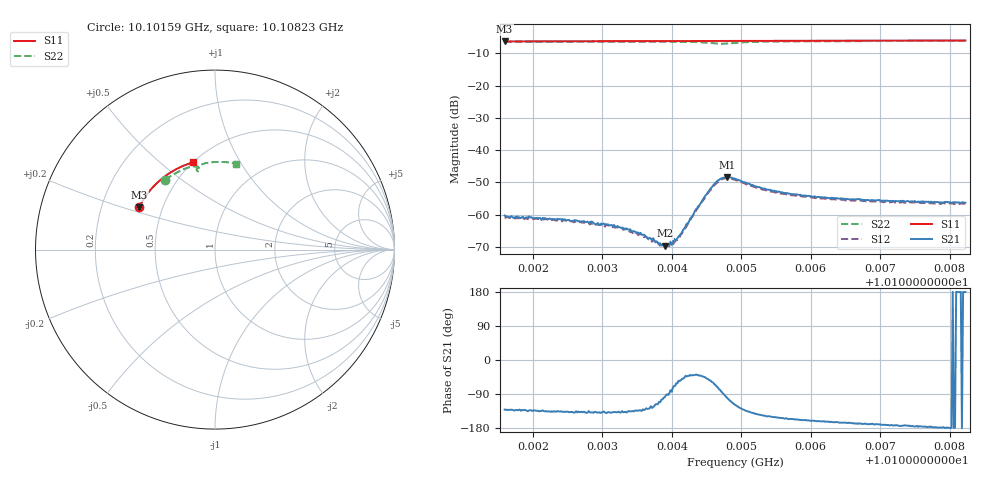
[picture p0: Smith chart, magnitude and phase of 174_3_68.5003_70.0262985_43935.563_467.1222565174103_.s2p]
#  HZ  S  RI  R  50.00
! Rohde & Schwarz Vector Network Analyzer
! Rohde-Schwarz,ZNB20-2Port,1311601062101988,3.16
! Created: UTC 3/20/2024, 4:56:20 PM
! freq[Hz]  re:S11  im:S11  re:S21  im:S21  re:S12  im:S12  re:S22  im:S22
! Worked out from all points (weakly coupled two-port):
!   401 points, 10.10159 GHz to 10.10823 GHz, reference 50 ohm
!   highest |S21| = -48.38 dB at 10.10479 GHz (marker M1); lowest = -69.6 dB at 10.1039 GHz (marker M2)
!   lowest |S11| = -6.3 dB at 10.10159 GHz (marker M3), VSWR 2.87, Z = 18.4 + j11.4 ohm
!   |S11| at or under -10 dB: nowhere
!   |S22| runs from -7.0 to -6.1 dB; largest |S21 - S12| = 0.00038
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1.0101592e10  -0.4221 0.2365  -0.000638 -0.000735  -0.00056 -0.000695  -0.2761 0.3881
1.0101692e10  -0.4195 0.242  -0.000629 -0.000717  -0.000527 -0.000694  -0.2711 0.3922
1.0102074e10  -0.4083 0.2623  -0.000611 -0.000637  -0.000558 -0.000652  -0.2508 0.4066
1.0102704e10  -0.3881 0.2949  -0.000578 -0.000541  -0.000503 -0.000557  -0.2155 0.4283
1.0103086e10  -0.3744 0.3137  -0.000524 -0.000474  -0.000481 -0.000491  -0.193 0.4401
1.0103368e10  -0.3639 0.3271  -0.000423 -0.000413  -0.000377 -0.000442  -0.1755 0.4478
1.0103583e10  -0.3555 0.3371  -0.000313 -0.000372  -0.000297 -0.000385  -0.1615 0.4531
1.0103815e10  -0.3459 0.3479  -0.000125 -0.000329  -0.000106 -0.000326  -0.1455 0.4584
1.0103898e10  -0.3426 0.3515  -4.9e-05 -0.000328  -2.28e-05 -0.000328  -0.1395 0.4599
1.0103981e10  -0.3392 0.3551  6.76e-05 -0.000376  6.93e-05 -0.000328  -0.1333 0.4613
1.0104081e10  -0.3349 0.3594  0.000207 -0.00038  0.000231 -0.000331  -0.1255 0.4625
1.0104214e10  -0.3292 0.365  0.00052 -0.000496  0.000516 -0.00041  -0.1144 0.4632
1.0104396e10  -0.3212 0.3727  0.00105 -0.000915  0.00111 -0.000813  -0.0979 0.4602
1.0104595e10  -0.3122 0.3809  0.00143 -0.00245  0.00152 -0.00224  -0.0852 0.4455
1.0104695e10  -0.3078 0.3847  0.000676 -0.0035  0.000895 -0.0033  -0.0894 0.437
1.0104794e10  -0.3034 0.3885  -0.000625 -0.00376  -0.000294 -0.00365  -0.0985 0.4379
1.010491e10  -0.2981 0.3932  -0.00169 -0.00318  -0.00134 -0.0032  -0.102 0.4484
1.0105209e10  -0.284 0.4047  -0.00217 -0.00168  -0.00192 -0.0018  -0.0854 0.4695
1.0105458e10  -0.2719 0.4136  -0.00204 -0.00115  -0.00187 -0.00128  -0.067 0.4775
1.0106022e10  -0.2434 0.4325  -0.00178 -0.000647  -0.00167 -0.000758  -0.0276 0.4858
1.0107133e10  -0.1838 0.4637  -0.00162 -0.000211  -0.00151 -0.00036  0.0458 0.4883
1.0108228e10  -0.1214 0.486  -0.00153 1.33e-05  -0.00145 -0.000122  0.1157 0.4793
